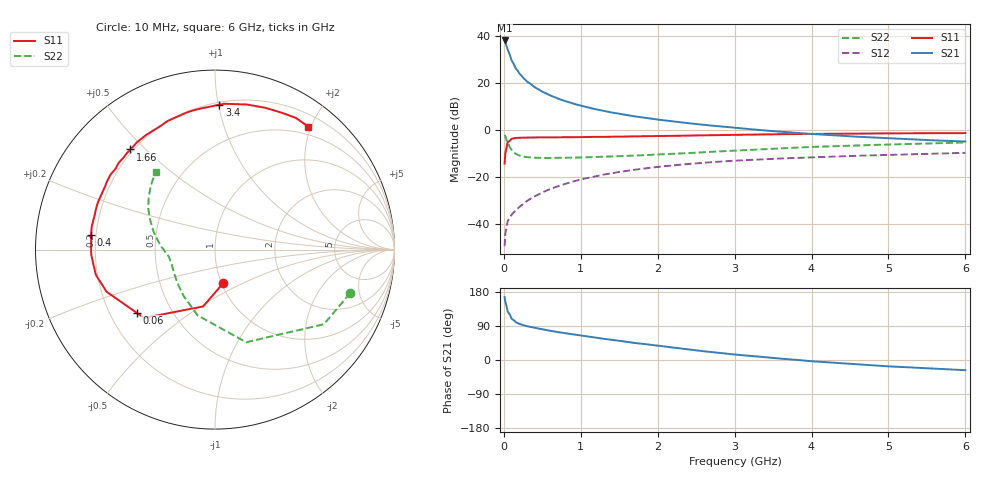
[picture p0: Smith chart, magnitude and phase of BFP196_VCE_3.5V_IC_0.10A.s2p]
! Infineon Technologies  Discrete & RF Semiconductors
! BFP196
! VCE = 3.5 V,  IC = 0.10A
! Common Emitter S-Parameters:  Jan 2016
# GHz  S  MA  R  50
!  f  S11  S21  S12  S22
! GHz  MAG  ANG  MAG  ANG  MAG  ANG  MAG  ANG
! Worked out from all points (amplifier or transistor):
!   210 points, 10 MHz to 6 GHz, reference 50 ohm
!   highest |S21| = 38.1 dB at 10 MHz (marker M1)
!   |S21| within 3 dB of that: start of sweep to 41.09 MHz
!   unconditionally stable (mu >= 1): 326 MHz to 4.974 GHz
!   at 185 MHz: K = 0.85, MSG = 29.1 dB, |S12| = -33.2 dB
!   at 1.52 GHz: K = 1.09, MAG = 10.5 dB, |S12| = -17.7 dB
!   at 6 GHz: K = 0.99, MSG = 2.4 dB, |S12| = -9.7 dB
!   S11 on the Smith chart (normalised r, x): 10 MHz: 1.02, -0.40; 60 MHz: 0.31, -0.32; 400 MHz: 0.18, +0.06; 1.66 GHz: 0.19, +0.45; 3.4 GHz: 0.22, +1.01; 6 GHz: 0.37, +1.95
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0.01  0.1935 -76.6  80.09 165.9  0.0034 74.3  0.7909 -17.9
0.02  0.3236 -101.8  73.26 152.5  0.0063 68.7  0.7357 -34.4
0.05  0.5489 -136.1  51.52 127.4  0.0115 54.7  0.5446 -71.4
0.06  0.561 -141.2  47.05 125.1  0.0124 54.3  0.5007 -76.2
0.1  0.6484 -158.8  30.51 109.0  0.0158 53.1  0.3792 -104.8
0.15  0.6786 -168.0  21.16 100.4  0.0192 55.0  0.3154 -123.0
0.2  0.6837 -173.9  16.12 95.4  0.023 58.4  0.2874 -134.3
0.26  0.6904 -178.5  12.48 91.3  0.0275 61.3  0.271 -143.6
0.3  0.69 179.0  10.79 89.1  0.0309 63.2  0.2656 -147.9
0.4  0.6954 173.1  8.157 84.8  0.0389 65.4  0.2575 -155.6
0.5  0.6986 169.4  6.532 81.0  0.0468 66.4  0.2549 -160.5
0.6  0.6968 165.1  5.454 77.2  0.0556 66.7  0.2551 -163.8
0.8  0.7035 157.9  4.104 70.7  0.0719 65.4  0.2576 -168.3
1.02  0.7069 149.8  3.23 64.0  0.0904 63.3  0.2617 -172.0
1.3  0.7138 140.8  2.544 55.9  0.1131 59.7  0.2707 -175.5
1.66  0.7303 130.2  1.997 46.2  0.1403 54.3  0.2852 -179.8
2.02  0.7454 120.4  1.652 37.1  0.1656 48.5  0.3027 175.8
3.1  0.7926 94.2  1.078 12.7  0.2273 32.0  0.3713 160.4
3.4  0.8075 88.3  0.977 7.2  0.2401 27.7  0.393 156.1
4.1  0.8287 76.1  0.806 -4.5  0.2665 19.0  0.4425 147.1
5.1  0.8503 62.9  0.656 -17.7  0.2994 7.7  0.4967 136.4
6  0.8597 52.9  0.57 -26.9  0.3273 -2.3  0.5428 127.3
